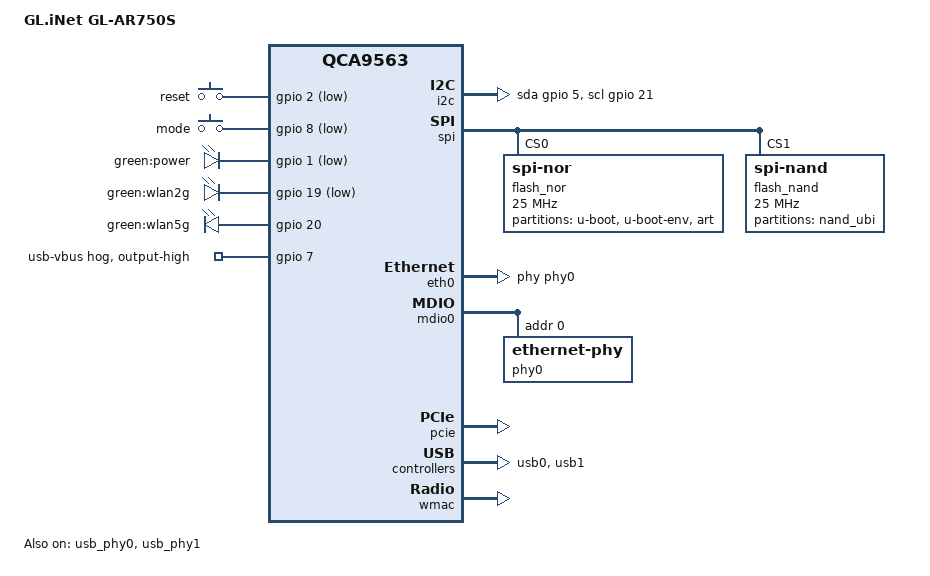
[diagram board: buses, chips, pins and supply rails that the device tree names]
// SPDX-License-Identifier: GPL-2.0-or-later OR MIT

#include "qca956x.dtsi"

#include <dt-bindings/gpio/gpio.h>
#include <dt-bindings/input/input.h>

/ {
	compatible = "glinet,gl-ar750s", "qca,qca9563";
	model = "GL.iNet GL-AR750S";

	aliases {
		led-boot = &led_power;
		led-failsafe = &led_power;
		led-running = &led_power;
		led-upgrade = &led_power;
		label-mac-device = &eth0;
	};

	keys {
		compatible = "gpio-keys";

		pinctrl-names = "default";
		pinctrl-0 = <&jtag_disable_pins>;

		reset {
			label = "reset";
			linux,code = <KEY_RESTART>;
			gpios = <&gpio 2 GPIO_ACTIVE_LOW>;
		};

		mode {
			label = "mode";
			linux,code = <BTN_0>;
			linux,input-type = <EV_SW>;
			gpios = <&gpio 8 GPIO_ACTIVE_LOW>;
		};
	};

	leds {
		compatible = "gpio-leds";

		led_power: power {
			label = "green:power";
			gpios = <&gpio 1 GPIO_ACTIVE_LOW>;
			default-state = "keep";
		};

		led_wlan2g: wlan2g {
			label = "green:wlan2g";
			gpios = <&gpio 19 GPIO_ACTIVE_LOW>;
			linux,default-trigger = "phy1tpt";
		};

		led_wlan5g: wlan5g {
			label = "green:wlan5g";
			gpios = <&gpio 20 GPIO_ACTIVE_HIGH>;
			linux,default-trigger = "phy0tpt";
		};
	};

	i2c: i2c {
		compatible = "i2c-gpio";

		sda-gpios = <&gpio  5 (GPIO_ACTIVE_HIGH|GPIO_OPEN_DRAIN)>;
		scl-gpios = <&gpio 21 (GPIO_ACTIVE_HIGH|GPIO_OPEN_DRAIN)>;
	};
};

&spi {
	status = "okay";

	flash_nor: flash@0 {
		compatible = "jedec,spi-nor";
		reg = <0>;
		spi-max-frequency = <25000000>;

		nor_partitions: partitions {
			compatible = "fixed-partitions";
			#address-cells = <1>;
			#size-cells = <1>;

			partition@0 {
				label = "u-boot";
				reg = <0x000000 0x040000>;
				read-only;
			};

			partition@40000 {
				label = "u-boot-env";
				reg = <0x040000 0x010000>;
			};

			art: partition@50000 {
				label = "art";
				reg = <0x050000 0x010000>;
				read-only;
			};

			/* Firmware / Kernel flash type specific */
		};
	};

	flash_nand: flash@1 {
		compatible = "spi-nand";
		reg = <1>;
		spi-max-frequency = <25000000>;

		nand_partitions: partitions {
			compatible = "fixed-partitions";
			#address-cells = <1>;
			#size-cells = <1>;

			nand_ubi: partition@0 {
				label = "nand_ubi";
				reg = <0x000000 0x8000000>;
			};
		};
	};
};

&eth0 {
	status = "okay";

	phy-handle = <&phy0>;
	nvmem-cells = <&macaddr_art_0>;
	nvmem-cell-names = "mac-address";
};

&gpio {
	usb_vbus {
		gpio-hog;
		gpios = <7 GPIO_ACTIVE_HIGH>;
		output-high;
		line-name = "usb-vbus";
	};
};

&mdio0 {
	status = "okay";

	phy-mask = <0>;

	phy0: ethernet-phy@0 {
		reg = <0>;
		phy-mode = "sgmii";
		qca,ar8327-initvals = <
			0x04 0x00080080 /* PORT0 PAD MODE CTRL */
			0x7c 0x0000007e /* PORT0_STATUS */
		>;
	};
};

&pcie {
	status = "okay";
};

&usb0 {
	status = "okay";
};

&usb1 {
	status = "okay";
};

&usb_phy0 {
	status = "okay";
};

&usb_phy1 {
	status = "okay";
};

&wmac {
	status = "okay";

	mtd-cal-data = <&art 0x1000>;
};

&art {
	compatible = "nvmem-cells";
	#address-cells = <1>;
	#size-cells = <1>;

	macaddr_art_0: macaddr@0 {
		reg = <0x0 0x6>;
	};
};
